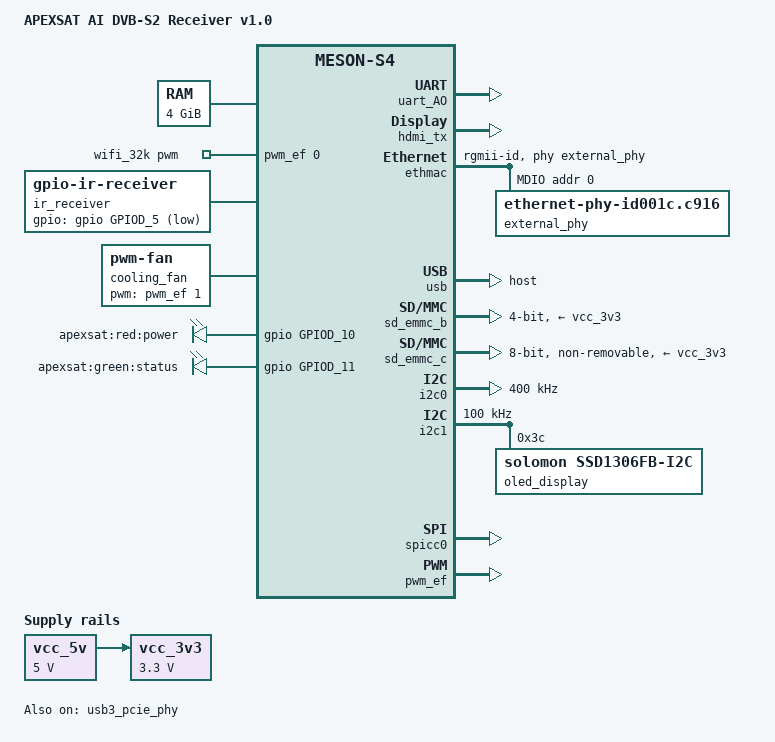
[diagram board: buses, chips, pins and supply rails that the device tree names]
// SPDX-License-Identifier: (GPL-2.0+ OR MIT)
/*
 * APEXSAT AI - Amlogic S905X4 Device Tree
 * Halil Dincer - Dincer Tavukculuk / APEX Serisi
 */

/dts-v1/;

#include "meson-s4-s905x4.dtsi"

/ {
    compatible = "apexsat,ai-v1", "amlogic,s905x4", "amlogic,meson-s4";
    model = "APEXSAT AI DVB-S2 Receiver v1.0";

    aliases {
        serial0 = &uart_AO;
        ethernet0 = &ethmac;
    };

    chosen {
        stdout-path = "serial0:115200n8";
    };

    memory@0 {
        device_type = "memory";
        reg = <0x0 0x0 0x0 0x100000000>; /* 4GB DDR4 */
    };

    /* 5V ana guc */
    vcc_5v: regulator-vcc-5v {
        compatible = "regulator-fixed";
        regulator-name = "VCC_5V";
        regulator-min-microvolt = <5000000>;
        regulator-max-microvolt = <5000000>;
        regulator-always-on;
    };

    /* 3.3V guc */
    vcc_3v3: regulator-vcc-3v3 {
        compatible = "regulator-fixed";
        regulator-name = "VCC_3V3";
        regulator-min-microvolt = <3300000>;
        regulator-max-microvolt = <3300000>;
        vin-supply = <&vcc_5v>;
        regulator-always-on;
    };

    /* WiFi 32K clock */
    wifi_32k: wifi-32k {
        compatible = "pwm-clock";
        #clock-cells = <0>;
        clock-frequency = <32768>;
        pwms = <&pwm_ef 0 30518 0>;
    };

    /* HDMI ses */
    hdmi_sound: hdmi-sound {
        compatible = "amlogic,axg-sound-card";
        model = "APEXSAT-HDMI";
        status = "okay";
    };

    /* IR alici */
    ir_receiver: ir-receiver {
        compatible = "gpio-ir-receiver";
        gpios = <&gpio GPIOD_5 GPIO_ACTIVE_LOW>;
        linux,rc-map-name = "rc-apexsat";
    };

    /* Fan PWM kontrolu */
    cooling_fan: cooling-fan {
        compatible = "pwm-fan";
        #cooling-cells = <2>;
        pwms = <&pwm_ef 1 40000 0>;
        cooling-levels = <0 64 128 192 255>;
    };

    /* LED'ler */
    leds {
        compatible = "gpio-leds";

        led_power: led-power {
            label = "apexsat:red:power";
            gpios = <&gpio GPIOD_10 GPIO_ACTIVE_HIGH>;
            default-state = "on";
        };

        led_status: led-status {
            label = "apexsat:green:status";
            gpios = <&gpio GPIOD_11 GPIO_ACTIVE_HIGH>;
            linux,default-trigger = "heartbeat";
        };
    };
};

/* UART debug konsolu */
&uart_AO {
    status = "okay";
    pinctrl-0 = <&uart_ao_a_pins>;
    pinctrl-names = "default";
};

/* HDMI cikis */
&hdmi_tx {
    status = "okay";
    pinctrl-0 = <&hdmitx_hpd_pins>, <&hdmitx_ddc_pins>;
    pinctrl-names = "default";
    hdmi-supply = <&vcc_5v>;
};

/* Ethernet (Gigabit) */
&ethmac {
    status = "okay";
    pinctrl-0 = <&eth_rgmii_pins>;
    pinctrl-names = "default";
    phy-handle = <&external_phy>;
    phy-mode = "rgmii-id";

    mdio {
        #address-cells = <1>;
        #size-cells = <0>;

        external_phy: ethernet-phy@0 {
            compatible = "ethernet-phy-id001c.c916";  /* RTL8211F */
            reg = <0>;
            max-speed = <1000>;
        };
    };
};

/* USB 3.0 */
&usb3_pcie_phy {
    status = "okay";
};

&usb {
    status = "okay";
    dr_mode = "host";
};

/* SD kart */
&sd_emmc_b {
    status = "okay";
    pinctrl-0 = <&sdcard_pins>;
    pinctrl-names = "default";
    bus-width = <4>;
    cap-sd-highspeed;
    sd-uhs-sdr50;
    max-frequency = <100000000>;
    vmmc-supply = <&vcc_3v3>;
};

/* eMMC */
&sd_emmc_c {
    status = "okay";
    pinctrl-0 = <&emmc_pins>;
    pinctrl-names = "default";
    bus-width = <8>;
    cap-mmc-highspeed;
    mmc-hs200-1_8v;
    max-frequency = <200000000>;
    vmmc-supply = <&vcc_3v3>;
    non-removable;
};

/* I2C bus (tuner kontrolu, mikrofon, sensorler) */
&i2c0 {
    status = "okay";
    pinctrl-0 = <&i2c0_pins>;
    pinctrl-names = "default";
    clock-frequency = <400000>;

    /* NIM modulu tuner kontrolu */
    /* Adres NIM modulune gore degisir */
};

&i2c1 {
    status = "okay";
    clock-frequency = <100000>;

    /* OLED ekran (SSD1306) */
    oled_display: ssd1306@3c {
        compatible = "solomon,ssd1306fb-i2c";
        reg = <0x3c>;
        solomon,width = <128>;
        solomon,height = <64>;
    };
};

/* SPI (opsiyonel flash, sensor) */
&spicc0 {
    status = "okay";
    pinctrl-0 = <&spicc0_pins>;
    pinctrl-names = "default";
};

/* PWM (fan, backlight) */
&pwm_ef {
    status = "okay";
    pinctrl-0 = <&pwm_e_pins>;
    pinctrl-names = "default";
};

/* Termal yonetim */
&cpu_thermal {
    trips {
        cpu_passive: cpu-passive {
            temperature = <70000>;
            hysteresis = <5000>;
            type = "passive";
        };

        cpu_hot: cpu-hot {
            temperature = <80000>;
            hysteresis = <5000>;
            type = "hot";
        };

        cpu_critical: cpu-critical {
            temperature = <95000>;
            hysteresis = <2000>;
            type = "critical";
        };
    };

    cooling-maps {
        map0 {
            trip = <&cpu_passive>;
            cooling-device = <&cooling_fan 0 1>;
        };
        map1 {
            trip = <&cpu_hot>;
            cooling-device = <&cooling_fan 2 3>;
        };
    };
};
